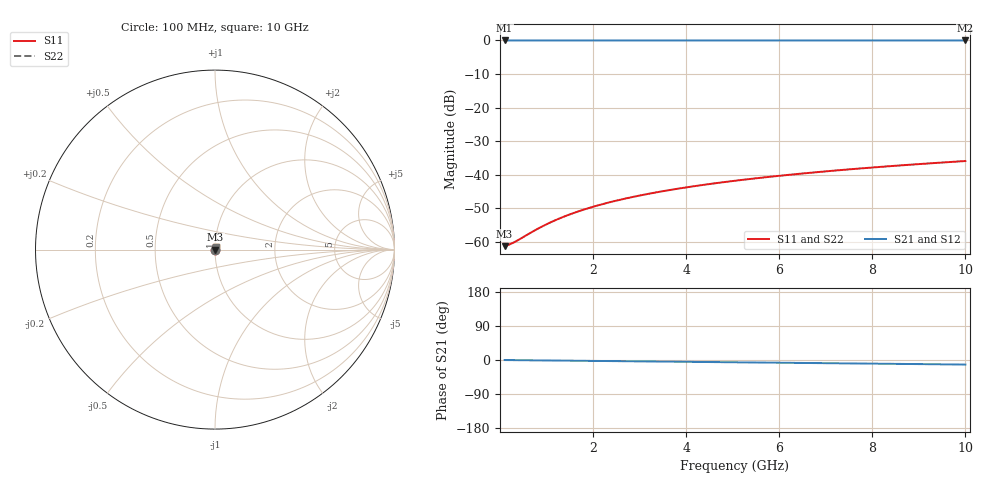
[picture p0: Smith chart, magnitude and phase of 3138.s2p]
# Hz S RI R 50.00
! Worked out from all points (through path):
!   100 points, 100 MHz to 10 GHz, reference 50 ohm
!   highest |S21| = -0.01 dB at 100 MHz (marker M1); lowest = 0.0 dB at 10 GHz (marker M2)
!   group delay of S21, straight-line fit = 3.34 ps
!   lowest |S11| = -61.2 dB at 100 MHz (marker M3), VSWR 1.00, Z = 50.1 + j0.0161 ohm
!   |S11| at or under -10 dB: start of sweep to end of sweep
!   |S22| runs from -61.2 to -35.9 dB; largest |S21 - S12| = 0
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1e8  0.000855 0.00016  0.9991 -0.00208  0.9991 -0.00208  0.000855 0.00016
2e8  0.000861 0.000321  0.9991 -0.00416  0.9991 -0.00416  0.000861 0.000321
3e8  0.000866 0.000481  0.9991 -0.00624  0.9991 -0.00624  0.000866 0.000481
8e8  0.000893 0.00128  0.999 -0.0167  0.999 -0.0167  0.000893 0.00128
9e8  0.0009 0.00144  0.9989 -0.0187  0.9989 -0.0187  0.0009 0.00144
1.1e9  0.000916 0.00176  0.9988 -0.0229  0.9988 -0.0229  0.000916 0.00176
1.4e9  0.000943 0.00224  0.9987 -0.0291  0.9987 -0.0291  0.000943 0.00224
1.6e9  0.000964 0.00256  0.9985 -0.0333  0.9985 -0.0333  0.000964 0.00256
1.8e9  0.000988 0.00288  0.9984 -0.0375  0.9984 -0.0375  0.000988 0.00288
2.1e9  0.00103 0.00335  0.9981 -0.0437  0.9981 -0.0437  0.00103 0.00335
2.5e9  0.00109 0.00399  0.9977 -0.0521  0.9977 -0.0521  0.00109 0.00399
2.9e9  0.00116 0.00462  0.9972 -0.0604  0.9972 -0.0604  0.00116 0.00462
3.4e9  0.00127 0.00541  0.9965 -0.0708  0.9965 -0.0708  0.00127 0.00541
3.8e9  0.00137 0.00604  0.9959 -0.0791  0.9959 -0.0791  0.00137 0.00604
4.2e9  0.00147 0.00667  0.9952 -0.0875  0.9952 -0.0875  0.00147 0.00667
4.6e9  0.00159 0.00729  0.9944 -0.0958  0.9944 -0.0958  0.00159 0.00729
5.1e9  0.00175 0.00807  0.9933 -0.1062  0.9933 -0.1062  0.00175 0.00807
5.9e9  0.00205 0.00931  0.9914 -0.1229  0.9914 -0.1229  0.00205 0.00931
6.7e9  0.00238 0.0105  0.9891 -0.1395  0.9891 -0.1395  0.00238 0.0105
7.5e9  0.00276 0.0118  0.9866 -0.1561  0.9866 -0.1561  0.00276 0.0118
8.4e9  0.00323 0.0131  0.9835 -0.1748  0.9835 -0.1748  0.00323 0.0131
1e10  0.0042 0.0155  0.9769 -0.2079  0.9769 -0.2079  0.0042 0.0155
